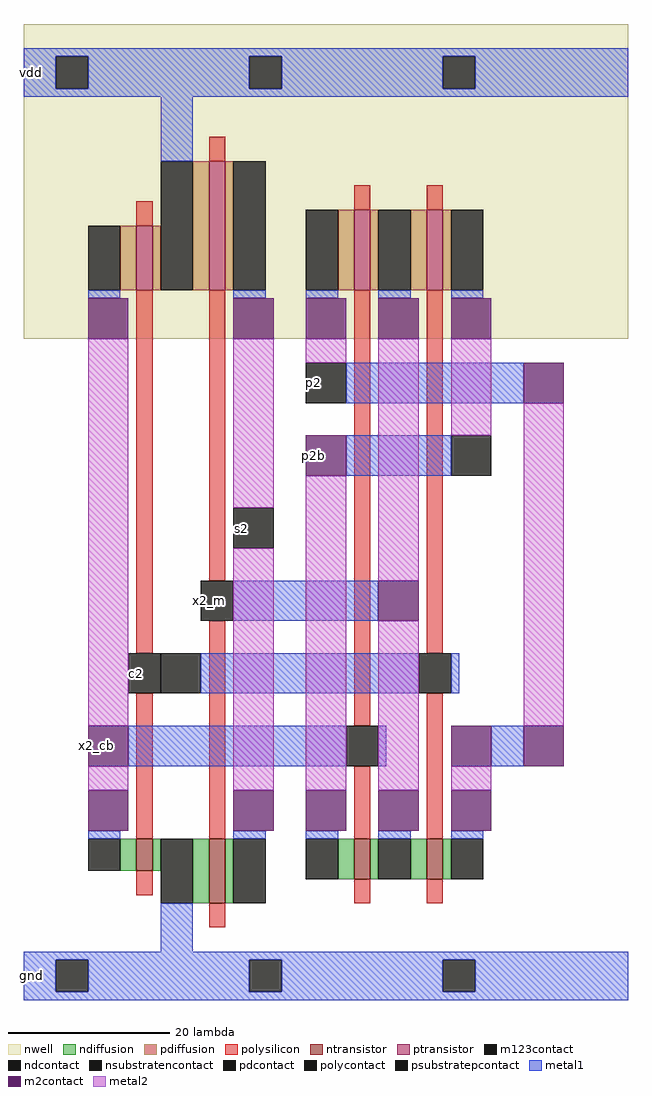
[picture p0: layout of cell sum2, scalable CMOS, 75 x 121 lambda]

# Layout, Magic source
magic
tech scmos
<< nwell >>
rect 0 82 75 121
<< ntransistor >>
rect 14 16 16 20
rect 23 12 25 20
rect 41 15 43 20
rect 50 15 52 20
<< ptransistor >>
rect 14 88 16 96
rect 23 88 25 104
rect 41 88 43 98
rect 50 88 52 98
<< ndiffusion >>
rect 12 16 14 20
rect 16 16 17 20
rect 21 12 23 20
rect 25 12 26 20
rect 39 15 41 20
rect 43 15 44 20
rect 48 15 50 20
rect 52 15 53 20
<< pdiffusion >>
rect 12 88 14 96
rect 16 88 17 96
rect 21 88 23 104
rect 25 88 26 104
rect 39 88 41 98
rect 43 88 44 98
rect 48 88 50 98
rect 52 88 53 98
<< ndcontact >>
rect 8 16 12 20
rect 17 12 21 20
rect 26 12 30 20
rect 35 15 39 20
rect 44 15 48 20
rect 53 15 57 20
<< pdcontact >>
rect 8 88 12 96
rect 17 88 21 104
rect 26 88 30 104
rect 35 88 39 98
rect 44 88 48 98
rect 53 88 57 98
<< psubstratepcontact >>
rect 4 1 8 5
rect 28 1 32 5
rect 52 1 56 5
<< nsubstratencontact >>
rect 4 113 8 117
rect 28 113 32 117
rect 52 113 56 117
<< polysilicon >>
rect 23 104 25 107
rect 14 96 16 99
rect 41 98 43 101
rect 50 98 52 101
rect 14 43 16 88
rect 23 52 25 88
rect 14 20 16 38
rect 23 20 25 47
rect 41 34 43 88
rect 50 43 52 88
rect 41 20 43 29
rect 50 20 52 38
rect 14 13 16 16
rect 41 12 43 15
rect 50 12 52 15
rect 23 9 25 12
<< polycontact >>
rect 22 47 26 52
rect 13 38 17 43
rect 49 38 53 43
rect 40 29 44 34
<< metal1 >>
rect 0 117 75 118
rect 0 113 4 117
rect 8 113 28 117
rect 32 113 52 117
rect 56 113 75 117
rect 0 112 75 113
rect 17 104 21 112
rect 8 87 12 88
rect 26 87 30 88
rect 35 87 39 88
rect 44 87 48 88
rect 53 87 57 88
rect 40 74 62 79
rect 40 65 53 70
rect 26 47 44 52
rect 22 38 49 43
rect 53 38 54 43
rect 13 29 40 34
rect 44 29 45 34
rect 58 29 62 34
rect 8 20 12 21
rect 26 20 30 21
rect 35 20 39 21
rect 44 20 48 21
rect 53 20 57 21
rect 17 6 21 12
rect 0 5 75 6
rect 0 1 4 5
rect 8 1 28 5
rect 32 1 52 5
rect 56 1 75 5
rect 0 0 75 1
<< m2contact >>
rect 8 82 13 87
rect 26 82 31 87
rect 35 82 40 87
rect 44 82 49 87
rect 53 82 58 87
rect 62 74 67 79
rect 35 65 40 70
rect 44 47 49 52
rect 8 29 13 34
rect 53 29 58 34
rect 62 29 67 34
rect 8 21 13 26
rect 26 21 31 26
rect 35 21 40 26
rect 44 21 49 26
rect 53 21 58 26
<< metal2 >>
rect 8 34 13 82
rect 26 61 31 82
rect 35 79 40 82
rect 8 26 13 29
rect 26 26 31 56
rect 35 26 40 65
rect 44 52 49 82
rect 53 70 58 82
rect 44 26 49 47
rect 62 34 67 74
rect 53 26 58 29
<< m123contact >>
rect 35 74 40 79
rect 26 56 31 61
rect 17 38 22 43
rect 53 65 58 70
<< labels >>
rlabel metal1 13 38 15 43 0 c2
port 1 nsew
rlabel metal1 35 74 37 79 0 p2
port 2 nsew
rlabel m2contact 35 65 37 70 0 p2b
port 3 nsew
rlabel metal1 26 56 28 61 0 s2
port 4 nsew
rlabel m2contact 8 29 10 34 0 x2_cb
rlabel metal1 22 47 24 52 0 x2_m
rlabel metal1 0 112 2 118 0 vdd
port 5 nsew
rlabel metal1 0 0 2 6 0 gnd
port 6 nsew
<< end >>
